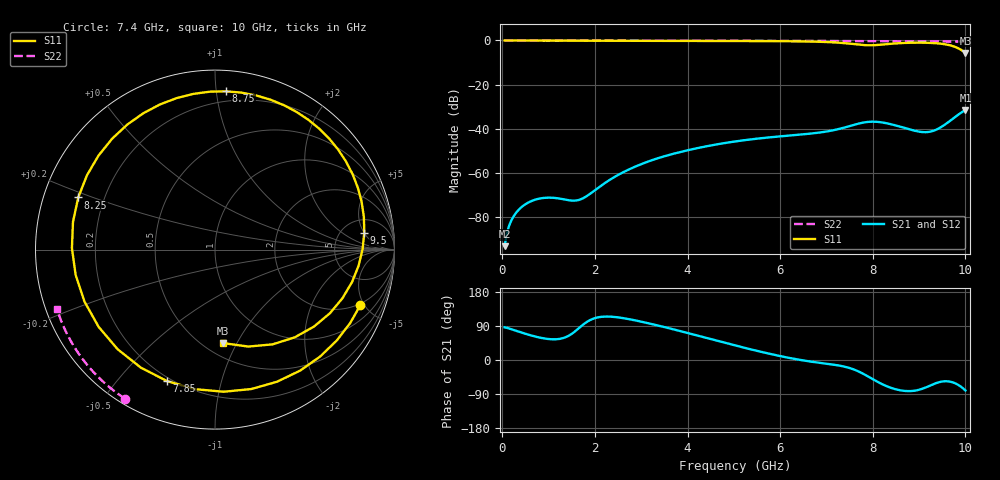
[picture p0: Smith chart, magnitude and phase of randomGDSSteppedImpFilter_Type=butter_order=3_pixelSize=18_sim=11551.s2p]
! freq	dB(S11)	phase(S11)	dB(S12)	phase(S12)
!  dB(S21)	phase(S21)	dB(S22)	phase(S22)
!S-par simulation data
#  GHz  S  DB  R 50
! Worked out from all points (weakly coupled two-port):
!   200 points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, 50 MHz to 10 GHz, reference 50 ohm
!   highest |S21| = -31.60 dB at 10 GHz (marker M1); lowest = -93.4 dB at 50 MHz (marker M2)
!   lowest |S11| = -5.6 dB at 10 GHz (marker M3), VSWR 3.19, Z = 30.7 - j44.1 ohm
!   |S11| at or under -10 dB: nowhere
!   |S22| runs from -0.5 to 0.0 dB; largest |S21 - S12| = 0
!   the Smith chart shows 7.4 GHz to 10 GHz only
!   S11 on the Smith chart (normalised r, x): 7.4 GHz: 1.88, -4.69; 7.85 GHz: 0.18, -0.68; 8.25 GHz: 0.11, +0.18; 8.75 GHz: 0.13, +1.06; 9.5 GHz: 8.08, +5.05; 10 GHz: 0.61, -0.88
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0.05  -0.00 -3.5  -93.38 86.2  -93.38 86.2  -0.00 -0.9
0.9  -0.07 -60.0  -71.47 57.0  -71.47 57.0  -0.02 -16.4
1.75  -0.11 -106.8  -71.57 93.8  -71.57 93.8  -0.04 -31.6
2.55  -0.13 -142.2  -60.49 111.7  -60.49 111.7  -0.06 -45.6
3.4  -0.15 -174.2  -53.20 89.9  -53.20 89.9  -0.08 -59.9
4.2  -0.18 157.9  -48.93 64.7  -48.93 64.7  -0.10 -73.0
5.05  -0.23 127.6  -45.78 37.6  -45.78 37.6  -0.13 -86.4
6  -0.33 88.4  -43.53 10.4  -43.53 10.4  -0.18 -100.8
6.7  -0.52 48.9  -42.18 -4.9  -42.18 -4.9  -0.22 -111.1
7.1  -0.81 15.7  -40.97 -11.4  -40.97 -11.4  -0.24 -116.9
7.4  -1.24 -20.9  -39.47 -17.9  -39.47 -17.9  -0.26 -121.2
7.65  -1.79 -64.8  -37.98 -27.9  -37.98 -27.9  -0.28 -124.8
7.85  -2.16 -110.0  -37.09 -40.0  -37.09 -40.0  -0.30 -127.6
8.05  -2.13 -158.2  -36.88 -54.0  -36.88 -54.0  -0.32 -130.5
8.25  -1.77 159.1  -37.38 -66.5  -37.38 -66.5  -0.33 -133.4
8.35  -1.58 141.1  -37.82 -71.6  -37.82 -71.6  -0.34 -134.8
8.55  -1.26 110.8  -38.90 -78.9  -38.90 -78.9  -0.36 -137.7
8.75  -1.07 86.1  -40.10 -82.0  -40.10 -82.0  -0.38 -140.5
9.15  -1.04 44.2  -41.63 -72.2  -41.63 -72.2  -0.43 -146.4
9.5  -1.55 6.4  -39.01 -56.8  -39.01 -56.8  -0.47 -151.5
9.75  -2.71 -29.0  -35.20 -60.0  -35.20 -60.0  -0.50 -155.3
10  -5.63 -85.0  -31.60 -80.3  -31.60 -80.3  -0.53 -159.2
